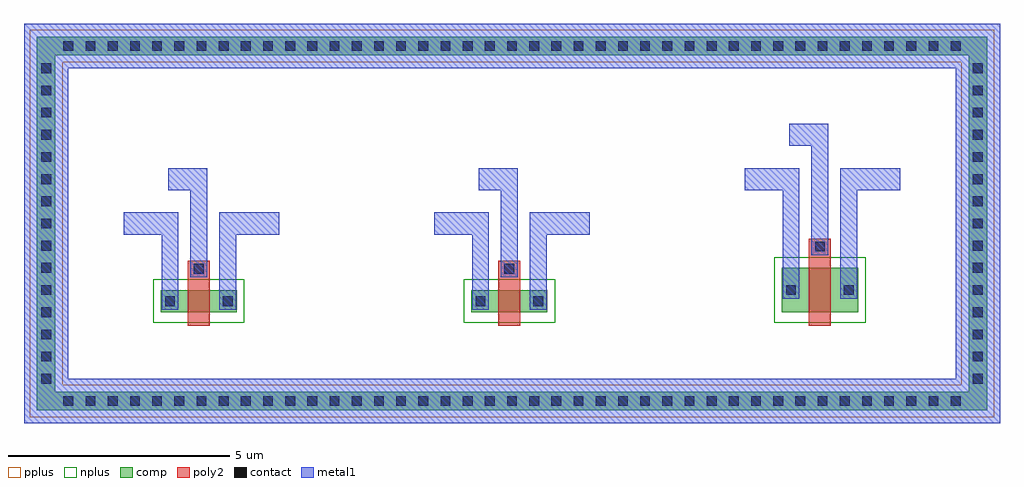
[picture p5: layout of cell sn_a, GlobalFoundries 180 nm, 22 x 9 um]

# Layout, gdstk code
import gdstk
lib = gdstk.Library(unit=1e-6, precision=1e-09)
def R(c, l, rs):  # rectangles x0, y0, x1, y1
    for r in rs: c.add(gdstk.rectangle(r[:2], r[2:], *l))
def A(c, l, x, y, w, h, nx, ny, dx, dy):  # array of equal rectangles
    R(c, l, [(x+i*dx, y+j*dy, x+i*dx+w, y+j*dy+h) for i in range(nx) for j in range(ny)])
comp = (22, 0)
poly2 = (30, 0)
pplus = (31, 0)
nplus = (32, 0)
contact = (33, 0)
metal1 = (34, 0)

nfet__11 = lib.new_cell('nfet__11')
R(nfet__11, comp, [(-0.42,0,0,0.5), (0,0,0.88,0.5), (0.88,0,1.3,0.5)])
R(nfet__11, poly2, [(0.19,-0.3,0.69,0.8), (0.19,0.8,0.69,1.16)])
R(nfet__11, nplus, [(-0.59,-0.24,1.47,0.74)])
R(nfet__11, contact, [(-0.32,0.14,-0.1,0.36), (0.98,0.14,1.2,0.36), (0.33,0.87,0.55,1.09)])
R(nfet__11, metal1, [(-0.4,0.055,-0.02,0.445), (0.9,0.055,1.28,0.445), (0.25,0.785,0.63,1.175)])

nfet__12 = lib.new_cell('nfet__12')
R(nfet__12, comp, [(-0.42,0,0,1), (0,0,0.88,1), (0.88,0,1.3,1)])
R(nfet__12, poly2, [(0.19,-0.3,0.69,1.3), (0.19,1.3,0.69,1.66)])
R(nfet__12, nplus, [(-0.59,-0.24,1.47,1.24)])
R(nfet__12, contact, [(-0.32,0.39,-0.1,0.61), (0.98,0.39,1.2,0.61), (0.33,1.37,0.55,1.59)])
R(nfet__12, metal1, [(-0.4,0.305,-0.02,0.695), (0.9,0.305,1.28,0.695), (0.25,1.285,0.63,1.675)])

sn_a = lib.new_cell('sn_a')
R(sn_a, comp, [(-3.21,-2.21,-2.79,6.21), (-2.79,-2.21,17.79,-1.79), (17.79,-2.21,18.21,6.21), (-2.79,5.79,17.79,6.21)])
R(sn_a, pplus, [(-3.37,-2.37,18.37,-1.63), (-3.37,-2.37,-2.63,6.37), (17.63,-2.37,18.37,6.37), (-3.37,5.63,18.37,6.37)])
A(sn_a, contact, -2.61, -2.11, 0.22, 0.22, 41, 2, 0.5, 8)
A(sn_a, contact, -3.11, -1.61, 0.22, 0.22, 1, 15, 0, 0.5)
A(sn_a, contact, 17.89, -1.61, 0.22, 0.22, 1, 15, 0, 0.5)
R(sn_a, metal1, [(-3.5,-2.5,-2.5,6.5), (-2.5,-2.5,17.5,-1.5), (17.5,-2.5,18.5,6.5), (-0.4,0.425,-0.02,2.25), (0.9,0.425,1.28,2.25), (6.6,0.425,6.98,2.25), (7.9,0.425,8.28,2.25), (13.6,0.675,13.98,3.25), (14.9,0.675,15.28,3.25), (0.25,1.155,0.63,3.25), (7.25,1.155,7.63,3.25), (14.25,1.655,14.63,4.25), (-1.25,1.75,-0.02,2.25), (0.9,1.75,2.25,2.25), (5.75,1.75,6.98,2.25), (7.9,1.75,9.25,2.25), (-0.25,2.75,0.63,3.25), (6.75,2.75,7.63,3.25), (12.75,2.75,13.98,3.25), (14.9,2.75,16.25,3.25), (13.75,3.75,14.63,4.25), (-2.5,5.5,17.5,6.5)])
sn_a.add(gdstk.Reference(nfet__11, (0,0)))
sn_a.add(gdstk.Reference(nfet__11, (7,0)))
sn_a.add(gdstk.Reference(nfet__12, (14,0)))

lib.write_gds('sn_a.gds')
